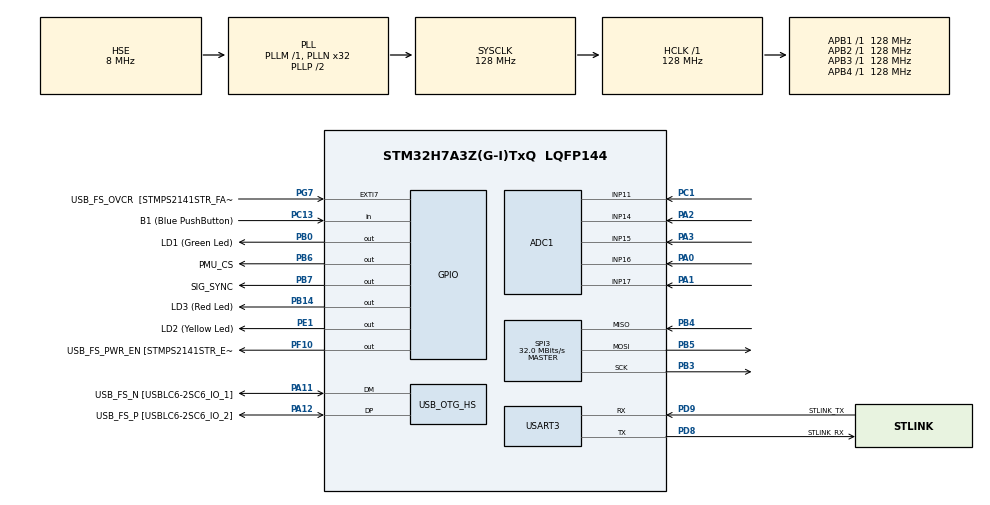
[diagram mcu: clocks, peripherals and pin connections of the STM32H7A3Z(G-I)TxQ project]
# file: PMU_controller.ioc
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ADC1.Channel-1\#ChannelRegularConversion=ADC_CHANNEL_11
ADC1.Channel-2\#ChannelRegularConversion=ADC_CHANNEL_16
ADC1.Channel-3\#ChannelRegularConversion=ADC_CHANNEL_17
ADC1.Channel-4\#ChannelRegularConversion=ADC_CHANNEL_14
ADC1.Channel-5\#ChannelRegularConversion=ADC_CHANNEL_15
ADC1.ContinuousConvMode=DISABLE
ADC1.ConversionDataManagement=ADC_CONVERSIONDATA_DR
ADC1.NbrOfConversion=5
ADC1.NbrOfConversionFlag=1
ADC1.OffsetNumber-1\#ChannelRegularConversion=ADC_OFFSET_NONE
ADC1.OffsetNumber-2\#ChannelRegularConversion=ADC_OFFSET_NONE
ADC1.OffsetNumber-3\#ChannelRegularConversion=ADC_OFFSET_NONE
ADC1.OffsetNumber-4\#ChannelRegularConversion=ADC_OFFSET_NONE
ADC1.OffsetNumber-5\#ChannelRegularConversion=ADC_OFFSET_NONE
ADC1.OffsetSignedSaturation-1\#ChannelRegularConversion=DISABLE
ADC1.OffsetSignedSaturation-2\#ChannelRegularConversion=DISABLE
ADC1.OffsetSignedSaturation-3\#ChannelRegularConversion=DISABLE
ADC1.OffsetSignedSaturation-4\#ChannelRegularConversion=DISABLE
ADC1.OffsetSignedSaturation-5\#ChannelRegularConversion=DISABLE
ADC1.Overrun=ADC_OVR_DATA_OVERWRITTEN
ADC1.Rank-1\#ChannelRegularConversion=1
ADC1.Rank-2\#ChannelRegularConversion=2
ADC1.Rank-3\#ChannelRegularConversion=3
ADC1.Rank-4\#ChannelRegularConversion=4
ADC1.Rank-5\#ChannelRegularConversion=5
ADC1.SamplingTime-1\#ChannelRegularConversion=ADC_SAMPLETIME_16CYCLES_5
ADC1.SamplingTime-2\#ChannelRegularConversion=ADC_SAMPLETIME_16CYCLES_5
ADC1.SamplingTime-3\#ChannelRegularConversion=ADC_SAMPLETIME_16CYCLES_5
ADC1.SamplingTime-4\#ChannelRegularConversion=ADC_SAMPLETIME_16CYCLES_5
ADC1.SamplingTime-5\#ChannelRegularConversion=ADC_SAMPLETIME_16CYCLES_5
ADC1.master=1
CORTEX_M7.CPU_DCache=Enabled
CORTEX_M7.CPU_ICache=Enabled
Dma.ADC1.0.Direction=DMA_PERIPH_TO_MEMORY
Dma.ADC1.0.EventEnable=DISABLE
Dma.ADC1.0.FIFOMode=DMA_FIFOMODE_DISABLE
Dma.ADC1.0.Instance=DMA1_Stream1
Dma.ADC1.0.MemDataAlignment=DMA_MDATAALIGN_HALFWORD
Dma.ADC1.0.MemInc=DMA_MINC_ENABLE
Dma.ADC1.0.Mode=DMA_CIRCULAR
Dma.ADC1.0.PeriphDataAlignment=DMA_PDATAALIGN_HALFWORD
Dma.ADC1.0.PeriphInc=DMA_PINC_DISABLE
Dma.ADC1.0.Polarity=HAL_DMAMUX_REQ_GEN_RISING
Dma.ADC1.0.Priority=DMA_PRIORITY_VERY_HIGH
Dma.ADC1.0.RequestNumber=1
Dma.ADC1.0.SignalID=NONE
Dma.ADC1.0.SyncEnable=DISABLE
Dma.ADC1.0.SyncPolarity=HAL_DMAMUX_SYNC_NO_EVENT
Dma.ADC1.0.SyncRequestNumber=1
Dma.ADC1.0.SyncSignalID=NONE
Dma.Request0=ADC1
Mcu.Family=STM32H7
Mcu.Name=STM32H7A3Z(G-I)TxQ
Mcu.Package=LQFP144
NVIC.ADC_IRQn=true\:2\:0\:true\:false\:true\:true\:false\:true
NVIC.DMA1_Stream1_IRQn=true\:3\:0\:true\:false\:true\:false\:false\:true
NVIC.OTG_HS_EP1_IN_IRQn=true\:0\:0\:false\:false\:true\:false\:true\:true
NVIC.OTG_HS_EP1_OUT_IRQn=true\:0\:0\:false\:false\:true\:false\:true\:true
NVIC.OTG_HS_IRQn=true\:0\:0\:false\:false\:true\:false\:true\:true
NVIC.PriorityGroup=NVIC_PRIORITYGROUP_4
NVIC.TIM16_IRQn=true\:1\:0\:true\:false\:true\:true\:false\:true
PA0.Mode=IN16-Single-Ended
PA0.Signal=ADC1_INP16
PA1.Mode=IN17-Single-Ended
PA1.Signal=ADC1_INP17
PA10.GPIO_Label=USB_FS_ID [ZX62RD-AB-5P8_ID]
PA10.Signal=USB_OTG_HS_ID
PA11.GPIO_Label=USB_FS_N [USBLC6-2SC6_IO_1]
PA11.GPIO_Speed=GPIO_SPEED_FREQ_VERY_HIGH
PA11.Mode=Device_Only_FS
PA11.Signal=USB_OTG_HS_DM
PA12.GPIO_Label=USB_FS_P [USBLC6-2SC6_IO_2]
PA12.GPIO_Speed=GPIO_SPEED_FREQ_VERY_HIGH
PA12.Mode=Device_Only_FS
PA12.Signal=USB_OTG_HS_DP
PA2.Signal=ADCx_INP14
PA3.Mode=IN15-Single-Ended
PA3.Signal=ADC1_INP15
PA9.GPIO_Label=USB_FS_VBUS  [ZX62RD-AB-5P8_VBUS]
PA9.Signal=USB_OTG_HS_VBUS
PB0.GPIO_Label=LD1 (Green Led)
PB0.GPIO_Speed=GPIO_SPEED_FREQ_VERY_HIGH
PB0.Signal=GPIO_Output
PB14.GPIO_Label=LD3 (Red Led)
PB14.GPIO_Speed=GPIO_SPEED_FREQ_VERY_HIGH
PB14.Signal=GPIO_Output
PB3.GPIO_PuPd=GPIO_PULLDOWN
PB3.GPIO_Speed=GPIO_SPEED_FREQ_VERY_HIGH
PB3.Mode=Full_Duplex_Master
PB3.Signal=SPI3_SCK
PB4.GPIO_Speed=GPIO_SPEED_FREQ_VERY_HIGH
PB4.Mode=Full_Duplex_Master
PB4.Signal=SPI3_MISO
PB5.GPIO_PuPd=GPIO_PULLDOWN
PB5.GPIO_Speed=GPIO_SPEED_FREQ_VERY_HIGH
PB5.Mode=Full_Duplex_Master
PB5.Signal=SPI3_MOSI
PB6.GPIO_Label=PMU_CS
PB6.GPIO_Speed=GPIO_SPEED_FREQ_VERY_HIGH
PB6.Signal=GPIO_Output
PB7.GPIO_Label=SIG_SYNC
PB7.GPIO_Speed=GPIO_SPEED_FREQ_VERY_HIGH
PB7.Signal=GPIO_Output
PC1.Signal=ADCx_INP11
PC13.GPIO_Label=B1 (Blue PushButton)
PC13.Signal=GPIO_Input
PC14-OSC32_IN.GPIO_Label=OSC32_IN
PC14-OSC32_IN.Mode=LSE-External-Oscillator
PC14-OSC32_IN.Signal=RCC_OSC32_IN
PC15-OSC32_OUT.GPIO_Label=OSC32_OUT
PC15-OSC32_OUT.Mode=LSE-External-Oscillator
PC15-OSC32_OUT.Signal=RCC_OSC32_OUT
PD8.GPIO_Label=STLINK_RX
PD8.Mode=Asynchronous
PD8.Signal=USART3_TX
PD9.GPIO_Label=STLINK_TX
PD9.Mode=Asynchronous
PD9.Signal=USART3_RX
PE1.GPIO_Label=LD2 (Yellow Led)
PE1.GPIO_Speed=GPIO_SPEED_FREQ_VERY_HIGH
PE1.Signal=GPIO_Output
PF10.GPIO_Label=USB_FS_PWR_EN [STMPS2141STR_EN]
PF10.GPIO_Speed=GPIO_SPEED_FREQ_VERY_HIGH
PF10.Signal=GPIO_Output
PG7.GPIO_Label=USB_FS_OVCR  [STMPS2141STR_FAULT]
PG7.Signal=GPXTI7
PH0-OSC_IN.GPIO_Label=PH0-MCU
PH0-OSC_IN.Mode=HSE-External-Clock-Source
PH0-OSC_IN.Signal=RCC_OSC_IN
PH1-OSC_OUT.GPIO_Label=PH1-MCU
PH1-OSC_OUT.Signal=RCC_OSC_OUT
ProjectManager.HeapSize=0x1000
ProjectManager.StackSize=0x400
ProjectManager.TargetToolchain=MDK-ARM V5.32
RCC.ADCFreq_Value=6250000
RCC.APB1Freq_Value=128000000
RCC.APB2Freq_Value=128000000
RCC.APB3Freq_Value=128000000
RCC.APB4Freq_Value=128000000
RCC.CortexFreq_Value=128000000
RCC.DIVM1=1
RCC.DIVM2=1
RCC.DIVM3=1
RCC.DIVN1=32
RCC.DIVN2=18
RCC.DIVN3=24
RCC.DIVP2=24
RCC.DIVQ1=4
RCC.HCLKFreq_Value=128000000
RCC.HSE_VALUE=8000000
RCC.PLL2FRACN=6144
RCC.PLLFRACN=0
RCC.PLLSourceVirtual=RCC_PLLSOURCE_HSE
RCC.PWR_Regulator_Voltage_Scale=PWR_REGULATOR_VOLTAGE_SCALE0
RCC.SYSCLKFreq_VALUE=128000000
RCC.SYSCLKSource=RCC_SYSCLKSOURCE_PLLCLK
RCC.SupplySource=PWR_DIRECT_SMPS_SUPPLY
RCC.USBCLockSelection=RCC_USBCLKSOURCE_HSI48
RCC.USBFreq_Value=48000000
SH.ADCx_INP11.0=ADC1_INP11,IN11-Single-Ended
SH.ADCx_INP14.0=ADC1_INP14,IN14-Single-Ended
SPI3.CLKPhase=SPI_PHASE_2EDGE
SPI3.CalculateBaudRate=32.0 MBits/s
SPI3.DataSize=SPI_DATASIZE_32BIT
SPI3.Direction=SPI_DIRECTION_2LINES
SPI3.Mode=SPI_MODE_MASTER
SPI3.VirtualType=VM_MASTER
TIM16.Period=99
TIM16.Prescaler=127
USART3.VirtualMode-Asynchronous=VM_ASYNC
USB_DEVICE.CLASS_NAME_HS=CDC
USB_DEVICE.MANUFACTURER_STRING-CDC_HS=TNL
USB_DEVICE.PRODUCT_STRING_CDC_HS=AD5522SMU
USB_DEVICE.VirtualMode-CDC_HS=Cdc
USB_DEVICE.VirtualModeHS=Cdc_HS
USB_OTG_HS.VirtualMode-Device_Only_FS=Device_Only_FS
USB_OTG_HS.use_dedicated_ep1-Device_Only_FS=DISABLE
VP_TIM16_VS_ClockSourceINT.Mode=Enable_Timer
VP_USB_DEVICE_VS_USB_DEVICE_CDC_HS.Mode=CDC_HS
VP_VREFBUF_V_VREFBUF.Mode=ExternalMode
board=NUCLEO-H7A3ZI-Q

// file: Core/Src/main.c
/* USER CODE BEGIN Header */
/**
  ******************************************************************************
  * @file           : main.c
  * @brief          : Main program body
  ******************************************************************************
  * @attention
  *
  * Copyright (c) 2022 STMicroelectronics.
  * All rights reserved.
  *
  * This software is licensed under terms that can be found in the LICENSE file
  * in the root directory of this software component.
  * If no LICENSE file comes with this software, it is provided AS-IS.
  *
  ******************************************************************************
  */
/* USER CODE END Header */
#include "main.h"
#include "usb_device.h"

/* USER CODE BEGIN Includes */
#include "AD5522.h"
#include "math.h"
#include "waveform.h"
/* USER CODE END Includes */

ADC_HandleTypeDef hadc1;
DMA_HandleTypeDef hdma_adc1;

SPI_HandleTypeDef hspi3;

TIM_HandleTypeDef htim16;

UART_HandleTypeDef huart3;

/* USER CODE BEGIN PV */
handle_AD5522 h_PMU;
__IO uint16_t ADC_temp[5];
__IO uint16_t ADC_cnt = 5;
__IO uint16_t ADC_ptr = 0;

double input_range[2] = {0,3.3/3.3*65535};
double output_Irange[2] = {-150e-6,150e-6};
double output_Vrange[2] = {0,0.6};
/* USER CODE END PV */

void SystemClock_Config(void);
static void MX_GPIO_Init(void);
static void MX_ADC1_Init(void);
static void MX_SPI3_Init(void);
static void MX_TIM16_Init(void);
static void MX_USART3_UART_Init(void);
static void MX_DMA_Init(void);
/* USER CODE BEGIN PFP */
static void Custom_ADC_DMA_Init(void);
/* USER CODE END PFP */

int main(void)
{

  /* Enable I-Cache---------------------------------------------------------*/
  SCB_EnableICache();

  /* Enable D-Cache---------------------------------------------------------*/
  SCB_EnableDCache();

  /* MCU Configuration--------------------------------------------------------*/

  /* Reset of all peripherals, Initializes the Flash interface and the Systick. */
  HAL_Init();

  /* Configure the system clock */
  SystemClock_Config();

  /* Initialize all configured peripherals */
  MX_GPIO_Init();
  MX_ADC1_Init();
  MX_SPI3_Init();
  MX_TIM16_Init();
  MX_USART3_UART_Init();
  MX_DMA_Init();
  MX_USB_DEVICE_Init();
  /* USER CODE BEGIN 2 */
	  /* Perform ADC calibration */
//	Custom_ADC_DMA_Init();
  if (HAL_ADCEx_Calibration_Start(&hadc1, ADC_CALIB_OFFSET, ADC_SINGLE_ENDED) != HAL_OK)
  {
    /* Calibration Error */
    Error_Handler();
  }
	AD5522_init(&h_PMU,&hspi3,2.38);
	AD5522_Calibrate(&h_PMU);
	AD5522_StartHiZMV(&h_PMU,PMU_CH_2|PMU_CH_3) ;//configure CH2/3 to monitor voltage only
	//AD5522_SetClamp(&h_PMU,PMU_CH_0|PMU_CH_1,32767-30000,32767+30000,0,65535,PMU_DAC_SCALEID_EXT);
	AD5522_SetClamp_float(&h_PMU,PMU_CH_0|PMU_CH_1,-2e-3,2e-3,-0.1,0.5,PMU_DAC_SCALEID_200UA);

	AD5522_StartFVMI(&h_PMU,PMU_CH_0|PMU_CH_1,PMU_DAC_SCALEID_2MA);
	//AD5522_StartFIMV(&h_PMU,PMU_CH_0|PMU_CH_1,PMU_DAC_SCALEID_200UA);

	HAL_ADC_Start_IT(&hadc1);

	__IO uint16_t value = 0;
	const uint16_t test_len = 3;
	__IO uint16_t value_inc = 0;
	//uint16_t test_sig[5] = {0,32768,65535};
	float    test_float_V[3] = {-5,0,5};
	float    test_float_I[3] = {1e-3,0,-1e-3};

	HAL_TIM_Base_Start_IT(&htim16);
	//AD5522_SetOutputVoltage_float(&h_PMU,PMU_CH_0|PMU_CH_1,5);
  /* USER CODE END 2 */

  /* Infinite loop */
  while (1)
  {

    /* USER CODE BEGIN 3 */
		//LL_ADC_REG_StartConversion(hadc1.Instance);

		//HAL_ADC_PollForConversion(&hadc1,1000);
		//AD5522_SetOutputCurrent(&h_PMU,PMU_CH_0|PMU_CH_1,value_inc);value_inc+=10;
		//AD5522_SetOutputVoltage(&h_PMU,PMU_CH_0|PMU_CH_1,test_sig[value++]);
		//AD5522_SetOutputVoltage(&h_PMU,PMU_CH_0|PMU_CH_1,32767+32767*wave[value++]);
		//AD5522_SetOutputVoltage_float(&h_PMU,PMU_CH_0|PMU_CH_1,test_float_V[value]);
		//AD5522_SetOutputCurrent_float(&h_PMU,PMU_CH_0|PMU_CH_1,test_float_I[value]);
		//AD5522_SetClamp_float(&h_PMU,PMU_CH_0|PMU_CH_1,-10e-3,test_float_I[value],-0.6,0.6,PMU_DAC_SCALEID_2MA);
		value+=1;
		if(value >= test_len)
			value = 0;
//
		HAL_Delay(2000);
  }
  /* USER CODE END 3 */
}

void SystemClock_Config(void)
{
  RCC_OscInitTypeDef RCC_OscInitStruct = {0};
  RCC_ClkInitTypeDef RCC_ClkInitStruct = {0};

  /*AXI clock gating */
  RCC->CKGAENR = 0xFFFFFFFF;

  /** Supply configuration update enable
  */
  HAL_PWREx_ConfigSupply(PWR_DIRECT_SMPS_SUPPLY);

  /** Configure the main internal regulator output voltage
  */
  __HAL_PWR_VOLTAGESCALING_CONFIG(PWR_REGULATOR_VOLTAGE_SCALE0);

  while(!__HAL_PWR_GET_FLAG(PWR_FLAG_VOSRDY)) {}

  /** Macro to configure the PLL clock source
  */
  __HAL_RCC_PLL_PLLSOURCE_CONFIG(RCC_PLLSOURCE_HSE);

  /** Initializes the RCC Oscillators according to the specified parameters
  * in the RCC_OscInitTypeDef structure.
  */
  RCC_OscInitStruct.OscillatorType = RCC_OSCILLATORTYPE_HSI48|RCC_OSCILLATORTYPE_HSE;
  RCC_OscInitStruct.HSEState = RCC_HSE_BYPASS;
  RCC_OscInitStruct.HSI48State = RCC_HSI48_ON;
  RCC_OscInitStruct.PLL.PLLState = RCC_PLL_ON;
  RCC_OscInitStruct.PLL.PLLSource = RCC_PLLSOURCE_HSE;
  RCC_OscInitStruct.PLL.PLLM = 1;
  RCC_OscInitStruct.PLL.PLLN = 32;
  RCC_OscInitStruct.PLL.PLLP = 2;
  RCC_OscInitStruct.PLL.PLLQ = 4;
  RCC_OscInitStruct.PLL.PLLR = 2;
  RCC_OscInitStruct.PLL.PLLRGE = RCC_PLL1VCIRANGE_3;
  RCC_OscInitStruct.PLL.PLLVCOSEL = RCC_PLL1VCOWIDE;
  RCC_OscInitStruct.PLL.PLLFRACN = 0;
  if (HAL_RCC_OscConfig(&RCC_OscInitStruct) != HAL_OK)
  {
    Error_Handler();
  }

  /** Initializes the CPU, AHB and APB buses clocks
  */
  RCC_ClkInitStruct.ClockType = RCC_CLOCKTYPE_HCLK|RCC_CLOCKTYPE_SYSCLK
                              |RCC_CLOCKTYPE_PCLK1|RCC_CLOCKTYPE_PCLK2
                              |RCC_CLOCKTYPE_D3PCLK1|RCC_CLOCKTYPE_D1PCLK1;
  RCC_ClkInitStruct.SYSCLKSource = RCC_SYSCLKSOURCE_PLLCLK;
  RCC_ClkInitStruct.SYSCLKDivider = RCC_SYSCLK_DIV1;
  RCC_ClkInitStruct.AHBCLKDivider = RCC_HCLK_DIV1;
  RCC_ClkInitStruct.APB3CLKDivider = RCC_APB3_DIV1;
  RCC_ClkInitStruct.APB1CLKDivider = RCC_APB1_DIV1;
  RCC_ClkInitStruct.APB2CLKDivider = RCC_APB2_DIV1;
  RCC_ClkInitStruct.APB4CLKDivider = RCC_APB4_DIV1;

  if (HAL_RCC_ClockConfig(&RCC_ClkInitStruct, FLASH_LATENCY_3) != HAL_OK)
  {
    Error_Handler();
  }
}

static void MX_ADC1_Init(void)
{

  ADC_MultiModeTypeDef multimode = {0};
  ADC_ChannelConfTypeDef sConfig = {0};

  /** Common config
  */
  hadc1.Instance = ADC1;
  hadc1.Init.ClockPrescaler = ADC_CLOCK_ASYNC_DIV1;
  hadc1.Init.Resolution = ADC_RESOLUTION_16B;
  hadc1.Init.ScanConvMode = ADC_SCAN_ENABLE;
  hadc1.Init.EOCSelection = ADC_EOC_SINGLE_CONV;
  hadc1.Init.LowPowerAutoWait = DISABLE;
  hadc1.Init.ContinuousConvMode = DISABLE;
  hadc1.Init.NbrOfConversion = 5;
  hadc1.Init.DiscontinuousConvMode = DISABLE;
  hadc1.Init.ExternalTrigConv = ADC_SOFTWARE_START;
  hadc1.Init.ExternalTrigConvEdge = ADC_EXTERNALTRIGCONVEDGE_NONE;
  hadc1.Init.ConversionDataManagement = ADC_CONVERSIONDATA_DR;
  hadc1.Init.Overrun = ADC_OVR_DATA_OVERWRITTEN;
  hadc1.Init.LeftBitShift = ADC_LEFTBITSHIFT_NONE;
  hadc1.Init.OversamplingMode = DISABLE;
  if (HAL_ADC_Init(&hadc1) != HAL_OK)
  {
    Error_Handler();
  }

  /** Configure the ADC multi-mode
  */
  multimode.Mode = ADC_MODE_INDEPENDENT;
  if (HAL_ADCEx_MultiModeConfigChannel(&hadc1, &multimode) != HAL_OK)
  {
    Error_Handler();
  }

  /** Configure Regular Channel
  */
  sConfig.Channel = ADC_CHANNEL_11;
  sConfig.Rank = ADC_REGULAR_RANK_1;
  sConfig.SamplingTime = ADC_SAMPLETIME_16CYCLES_5;
  sConfig.SingleDiff = ADC_SINGLE_ENDED;
  sConfig.OffsetNumber = ADC_OFFSET_NONE;
  sConfig.Offset = 0;
  sConfig.OffsetSignedSaturation = DISABLE;
  if (HAL_ADC_ConfigChannel(&hadc1, &sConfig) != HAL_OK)
  {
    Error_Handler();
  }

  /** Configure Regular Channel
  */
  sConfig.Channel = ADC_CHANNEL_16;
  sConfig.Rank = ADC_REGULAR_RANK_2;
  if (HAL_ADC_ConfigChannel(&hadc1, &sConfig) != HAL_OK)
  {
    Error_Handler();
  }

  /** Configure Regular Channel
  */
  sConfig.Channel = ADC_CHANNEL_17;
  sConfig.Rank = ADC_REGULAR_RANK_3;
  if (HAL_ADC_ConfigChannel(&hadc1, &sConfig) != HAL_OK)
  {
    Error_Handler();
  }

  /** Configure Regular Channel
  */
  sConfig.Channel = ADC_CHANNEL_14;
  sConfig.Rank = ADC_REGULAR_RANK_4;
  if (HAL_ADC_ConfigChannel(&hadc1, &sConfig) != HAL_OK)
  {
    Error_Handler();
  }

  /** Configure Regular Channel
  */
  sConfig.Channel = ADC_CHANNEL_15;
  sConfig.Rank = ADC_REGULAR_RANK_5;
  if (HAL_ADC_ConfigChannel(&hadc1, &sConfig) != HAL_OK)
  {
    Error_Handler();
  }

}

static void MX_SPI3_Init(void)
{

  /* SPI3 parameter configuration*/
  hspi3.Instance = SPI3;
  hspi3.Init.Mode = SPI_MODE_MASTER;
  hspi3.Init.Direction = SPI_DIRECTION_2LINES;
  hspi3.Init.DataSize = SPI_DATASIZE_32BIT;
  hspi3.Init.CLKPolarity = SPI_POLARITY_LOW;
  hspi3.Init.CLKPhase = SPI_PHASE_2EDGE;
  hspi3.Init.NSS = SPI_NSS_SOFT;
  hspi3.Init.BaudRatePrescaler = SPI_BAUDRATEPRESCALER_2;
  hspi3.Init.FirstBit = SPI_FIRSTBIT_MSB;
  hspi3.Init.TIMode = SPI_TIMODE_DISABLE;
  hspi3.Init.CRCCalculation = SPI_CRCCALCULATION_DISABLE;
  hspi3.Init.CRCPolynomial = 0x0;
  hspi3.Init.NSSPMode = SPI_NSS_PULSE_ENABLE;
  hspi3.Init.NSSPolarity = SPI_NSS_POLARITY_LOW;
  hspi3.Init.FifoThreshold = SPI_FIFO_THRESHOLD_01DATA;
  hspi3.Init.TxCRCInitializationPattern = SPI_CRC_INITIALIZATION_ALL_ZERO_PATTERN;
  hspi3.Init.RxCRCInitializationPattern = SPI_CRC_INITIALIZATION_ALL_ZERO_PATTERN;
  hspi3.Init.MasterSSIdleness = SPI_MASTER_SS_IDLENESS_00CYCLE;
  hspi3.Init.MasterInterDataIdleness = SPI_MASTER_INTERDATA_IDLENESS_00CYCLE;
  hspi3.Init.MasterReceiverAutoSusp = SPI_MASTER_RX_AUTOSUSP_DISABLE;
  hspi3.Init.MasterKeepIOState = SPI_MASTER_KEEP_IO_STATE_DISABLE;
  hspi3.Init.IOSwap = SPI_IO_SWAP_DISABLE;
  if (HAL_SPI_Init(&hspi3) != HAL_OK)
  {
    Error_Handler();
  }

}

static void MX_TIM16_Init(void)
{

  htim16.Instance = TIM16;
  htim16.Init.Prescaler = 127;
  htim16.Init.CounterMode = TIM_COUNTERMODE_UP;
  htim16.Init.Period = 99;
  htim16.Init.ClockDivision = TIM_CLOCKDIVISION_DIV1;
  htim16.Init.RepetitionCounter = 0;
  htim16.Init.AutoReloadPreload = TIM_AUTORELOAD_PRELOAD_DISABLE;
  if (HAL_TIM_Base_Init(&htim16) != HAL_OK)
  {
    Error_Handler();
  }

}

static void MX_USART3_UART_Init(void)
{

  huart3.Instance = USART3;
  huart3.Init.BaudRate = 115200;
  huart3.Init.WordLength = UART_WORDLENGTH_8B;
  huart3.Init.StopBits = UART_STOPBITS_1;
  huart3.Init.Parity = UART_PARITY_NONE;
  huart3.Init.Mode = UART_MODE_TX_RX;
  huart3.Init.HwFlowCtl = UART_HWCONTROL_NONE;
  huart3.Init.OverSampling = UART_OVERSAMPLING_16;
  huart3.Init.OneBitSampling = UART_ONE_BIT_SAMPLE_DISABLE;
  huart3.Init.ClockPrescaler = UART_PRESCALER_DIV1;
  huart3.AdvancedInit.AdvFeatureInit = UART_ADVFEATURE_NO_INIT;
  if (HAL_UART_Init(&huart3) != HAL_OK)
  {
    Error_Handler();
  }
  if (HAL_UARTEx_SetTxFifoThreshold(&huart3, UART_TXFIFO_THRESHOLD_1_8) != HAL_OK)
  {
    Error_Handler();
  }
  if (HAL_UARTEx_SetRxFifoThreshold(&huart3, UART_RXFIFO_THRESHOLD_1_8) != HAL_OK)
  {
    Error_Handler();
  }
  if (HAL_UARTEx_DisableFifoMode(&huart3) != HAL_OK)
  {
    Error_Handler();
  }

}

static void MX_DMA_Init(void)
{

  /* DMA controller clock enable */
  __HAL_RCC_DMA1_CLK_ENABLE();

  /* DMA interrupt init */
  /* DMA1_Stream1_IRQn interrupt configuration */
  HAL_NVIC_SetPriority(DMA1_Stream1_IRQn, 3, 0);
  HAL_NVIC_EnableIRQ(DMA1_Stream1_IRQn);

}

static void MX_GPIO_Init(void)
{
  GPIO_InitTypeDef GPIO_InitStruct = {0};

  /* GPIO Ports Clock Enable */
  __HAL_RCC_GPIOC_CLK_ENABLE();
  __HAL_RCC_GPIOF_CLK_ENABLE();
  __HAL_RCC_GPIOH_CLK_ENABLE();
  __HAL_RCC_GPIOA_CLK_ENABLE();
  __HAL_RCC_GPIOB_CLK_ENABLE();
  __HAL_RCC_GPIOD_CLK_ENABLE();
  __HAL_RCC_GPIOG_CLK_ENABLE();
  __HAL_RCC_GPIOE_CLK_ENABLE();

  /*Configure GPIO pin Output Level */
  HAL_GPIO_WritePin(USB_FS_PWR_EN_GPIO_Port, USB_FS_PWR_EN_Pin, GPIO_PIN_RESET);

  /*Configure GPIO pin Output Level */
  HAL_GPIO_WritePin(GPIOB, LD1_Pin|LD3_Pin|PMU_CS_Pin|SIG_SYNC_Pin, GPIO_PIN_RESET);

  /*Configure GPIO pin Output Level */
  HAL_GPIO_WritePin(LD2_GPIO_Port, LD2_Pin, GPIO_PIN_RESET);

  /*Configure GPIO pin : B1_Pin */
  GPIO_InitStruct.Pin = B1_Pin;
  GPIO_InitStruct.Mode = GPIO_MODE_INPUT;
  GPIO_InitStruct.Pull = GPIO_NOPULL;
  HAL_GPIO_Init(B1_GPIO_Port, &GPIO_InitStruct);

  /*Configure GPIO pin : USB_FS_PWR_EN_Pin */
  GPIO_InitStruct.Pin = USB_FS_PWR_EN_Pin;
  GPIO_InitStruct.Mode = GPIO_MODE_OUTPUT_PP;
  GPIO_InitStruct.Pull = GPIO_NOPULL;
  GPIO_InitStruct.Speed = GPIO_SPEED_FREQ_VERY_HIGH;
  HAL_GPIO_Init(USB_FS_PWR_EN_GPIO_Port, &GPIO_InitStruct);

  /*Configure GPIO pins : LD1_Pin LD3_Pin PMU_CS_Pin SIG_SYNC_Pin */
  GPIO_InitStruct.Pin = LD1_Pin|LD3_Pin|PMU_CS_Pin|SIG_SYNC_Pin;
  GPIO_InitStruct.Mode = GPIO_MODE_OUTPUT_PP;
  GPIO_InitStruct.Pull = GPIO_NOPULL;
  GPIO_InitStruct.Speed = GPIO_SPEED_FREQ_VERY_HIGH;
  HAL_GPIO_Init(GPIOB, &GPIO_InitStruct);

  /*Configure GPIO pin : USB_FS_OVCR_Pin */
  GPIO_InitStruct.Pin = USB_FS_OVCR_Pin;
  GPIO_InitStruct.Mode = GPIO_MODE_IT_RISING;
  GPIO_InitStruct.Pull = GPIO_NOPULL;
  HAL_GPIO_Init(USB_FS_OVCR_GPIO_Port, &GPIO_InitStruct);

  /*Configure GPIO pin : LD2_Pin */
  GPIO_InitStruct.Pin = LD2_Pin;
  GPIO_InitStruct.Mode = GPIO_MODE_OUTPUT_PP;
  GPIO_InitStruct.Pull = GPIO_NOPULL;
  GPIO_InitStruct.Speed = GPIO_SPEED_FREQ_VERY_HIGH;
  HAL_GPIO_Init(LD2_GPIO_Port, &GPIO_InitStruct);

}

/* USER CODE BEGIN 4 */
static void Custom_ADC_DMA_Init(void)
{
	//MSP INIT
	  GPIO_InitTypeDef          GPIO_InitStruct;
  static DMA_HandleTypeDef         DmaHandle;

  /*********************** Configure DMA parameters ***************************/
  DmaHandle.Instance                 = DMA1_Stream0;
  DmaHandle.Init.Request             = DMA_REQUEST_ADC1;
  DmaHandle.Init.Direction           = DMA_PERIPH_TO_MEMORY;
  DmaHandle.Init.PeriphInc           = DMA_PINC_DISABLE;
  DmaHandle.Init.MemInc              = DMA_MINC_ENABLE;
  DmaHandle.Init.PeriphDataAlignment = DMA_PDATAALIGN_HALFWORD;
  DmaHandle.Init.MemDataAlignment    = DMA_MDATAALIGN_HALFWORD;
  DmaHandle.Init.Mode                = DMA_CIRCULAR;
  DmaHandle.Init.Priority            = DMA_PRIORITY_MEDIUM;
  /* Deinitialize  & Initialize the DMA for new transfer */
  HAL_DMA_DeInit(&DmaHandle);
  HAL_DMA_Init(&DmaHandle);

  /* Associate the DMA handle */
  __HAL_LINKDMA(&hadc1, DMA_Handle, DmaHandle);

  /* NVIC configuration for DMA Input data interrupt */
  //HAL_NVIC_SetPriority(DMA1_Stream0_IRQn, 1, 0);
  HAL_NVIC_EnableIRQ(DMA1_Stream0_IRQn);

//	//ADC INIT
//	ADC_HandleTypeDef AdcHandle;
//	ADC_ChannelConfTypeDef        sConfig;
//
//	AdcHandle.Instance       = ADC1;
//	  if (HAL_ADC_DeInit(&hadc1) != HAL_OK)
//  {
//    /* ADC de-initialization Error */
//    Error_Handler();
//  }
//	AdcHandle.Init.ClockPrescaler        = ADC_CLOCK_ASYNC_DIV2;            /* Asynchronous clock mode, input ADC clock divided by 2*/
//  AdcHandle.Init.Resolution            = ADC_RESOLUTION_16B;              /* 16-bit resolution for converted data */
//  AdcHandle.Init.ScanConvMode          = DISABLE;                       /* Sequencer disabled (ADC conversion on only 1 channel: channel set on rank 1) */
//  AdcHandle.Init.EOCSelection          = ADC_EOC_SINGLE_CONV;           /* EOC flag picked-up to indicate conversion end */
//  AdcHandle.Init.LowPowerAutoWait      = DISABLE;                       /* Auto-delayed conversion feature disabled */
//  AdcHandle.Init.ContinuousConvMode    = ENABLE;                        /* Continuous mode enabled (automatic conversion restart after each conversion) */
//  AdcHandle.Init.NbrOfConversion       = 1;                             /* Parameter discarded because sequencer is disabled */
//  AdcHandle.Init.DiscontinuousConvMode = DISABLE;                       /* Parameter discarded because sequencer is disabled */
//  AdcHandle.Init.NbrOfDiscConversion   = 1;                             /* Parameter discarded because sequencer is disabled */
//  AdcHandle.Init.ExternalTrigConv      = ADC_SOFTWARE_START;            /* Software start to trig the 1st conversion manually, without external event */
//  AdcHandle.Init.ExternalTrigConvEdge  = ADC_EXTERNALTRIGCONVEDGE_NONE; /* Parameter discarded because software trigger chosen */
//  AdcHandle.Init.ConversionDataManagement = ADC_CONVERSIONDATA_DMA_CIRCULAR; /* ADC DMA circular requested */
//  AdcHandle.Init.Overrun               = ADC_OVR_DATA_OVERWRITTEN;      /* DR register is overwritten with the last conversion result in case of overrun */
//  AdcHandle.Init.OversamplingMode      = DISABLE;                       /* No oversampling */
//  /* Initialize ADC peripheral according to the passed parameters */
//  if (HAL_ADC_Init(&AdcHandle) != HAL_OK)
//  {
//    Error_Handler();
//  }
	 /* ### - 2 - Start calibration ############################################ */
  if (HAL_ADCEx_Calibration_Start(&hadc1, ADC_CALIB_OFFSET, ADC_SINGLE_ENDED) != HAL_OK)
  {
    Error_Handler();
  }

}
/* USER CODE END 4 */

void Error_Handler(void)
{
  __disable_irq();
  while (1)
  {
  }
}
